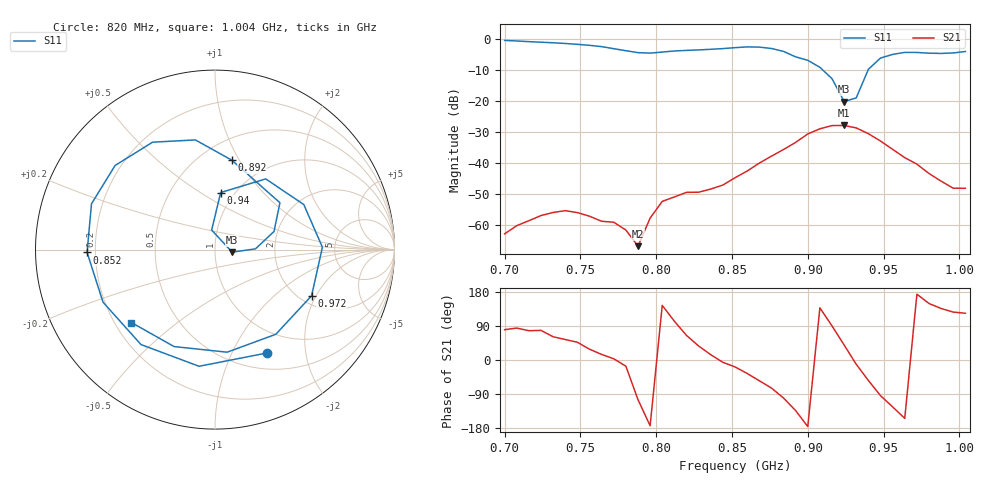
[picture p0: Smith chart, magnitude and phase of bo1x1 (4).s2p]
# Hz S RI R 50
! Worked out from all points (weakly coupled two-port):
!   39 points, 700 MHz to 1.004 GHz, reference 50 ohm
!   highest |S21| = -28.04 dB at 924 MHz (marker M1); lowest = -67.0 dB at 788 MHz (marker M2)
!   lowest |S11| = -20.3 dB at 924 MHz (marker M3), VSWR 1.21, Z = 60.5 - j1.74 ohm
!   |S11| at or under -10 dB: 909.6 MHz to 939.9 MHz (30.33 MHz wide, 3.28 % of centre)
!   S12 and S22 are empty: the file has one direction only
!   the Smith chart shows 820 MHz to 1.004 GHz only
!   S11 on the Smith chart (normalised r, x): 820 MHz: 0.70, -1.37; 852 MHz: 0.17, -0.01; 892 MHz: 0.69, +0.93; 940 MHz: 0.86, +0.61; 972 MHz: 2.30, -1.84; 1.004 GHz: 0.27, -0.35
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7e8  0.7476 0.5561  0.000124 0.000697  0 0  0 0
7.24e8  0.8402 -0.2381  0.000287 0.00137  0 0  0 0
7.4e8  0.4623 -0.6928  0.000985 0.00136  0 0  0 0
7.56e8  -0.1819 -0.7561  0.0012 0.000651  0 0  0 0
7.72e8  -0.6563 -0.2018  0.00109 6.23e-05  0 0  0 0
7.88e8  -0.2544 0.5353  -0.000113 -0.000434  0 0  0 0
7.96e8  0.2356 0.5326  -0.00126 -0.000141  0 0  0 0
8.04e8  0.5768 0.1851  -0.00192 0.00139  0 0  0 0
8.2e8  0.288 -0.5763  0.0014 0.003  0 0  0 0
8.36e8  -0.4124 -0.529  0.00363 0.000905  0 0  0 0
8.52e8  -0.7127 -0.0157  0.0054 -0.00178  0 0  0 0
8.76e8  -0.3478 0.5984  0.00352 -0.0122  0 0  0 0
8.92e8  0.0939 0.4981  -0.0146 -0.0154  0 0  0 0
9e8  0.3618 0.2611  -0.0288 -0.00221  0 0  0 0
9.08e8  0.3288 0.101  -0.0259 0.0237  0 0  0 0
9.24e8  0.0954 -0.0142  0.0305 0.0253  0 0  0 0
9.32e8  -0.0185 0.109  0.0355 -0.00718  0 0  0 0
9.4e8  0.0317 0.318  0.0172 -0.0236  0 0  0 0
9.56e8  0.4948 0.2508  -0.00907 -0.0136  0 0  0 0
9.72e8  0.5381 -0.2573  -0.00938 0.00104  0 0  0 0
9.88e8  0.0678 -0.5716  -0.0036 0.00349  0 0  0 0
1.004e9  -0.4654 -0.4064  -0.00211 0.00321  0 0  0 0
